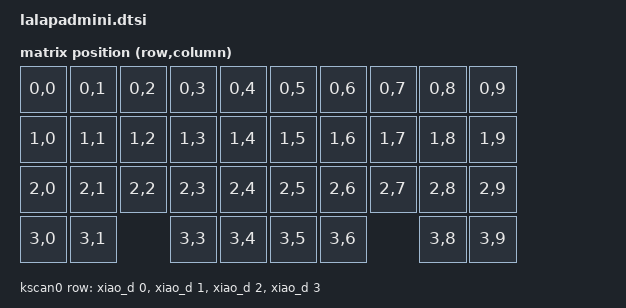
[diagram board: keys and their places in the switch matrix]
#include <dt-bindings/zmk/matrix_transform.h>
#include <dt-bindings/zmk/input_transform.h>
#include <input/processors.dtsi>
#include <physical_layouts.dtsi>

/ {
    chosen {
        zmk,kscan = &kscan0;
        zmk,physical-layout = &default_layout;
    };

    default_transform: keymap_transform_0 {
        compatible = "zmk,matrix-transform";
        columns = <10>;
        rows = <4>;
        map = <
            RC(0,0) RC(0,1) RC(0,2) RC(0,3) RC(0,4) RC(0,5) RC(0,6) RC(0,7) RC(0,8) RC(0,9)
            RC(1,0) RC(1,1) RC(1,2) RC(1,3) RC(1,4) RC(1,5) RC(1,6) RC(1,7) RC(1,8) RC(1,9)
            RC(2,0) RC(2,1) RC(2,2) RC(2,3) RC(2,4) RC(2,5) RC(2,6) RC(2,7) RC(2,8) RC(2,9)
            RC(3,0) RC(3,1)         RC(3,3) RC(3,4) RC(3,5) RC(3,6)         RC(3,8) RC(3,9)
        >;
    };

    kscan0: kscan {
        compatible = "zmk,kscan-gpio-matrix";
        wakeup-source;

        diode-direction = "col2row";
        row-gpios
            = <&xiao_d 0 (GPIO_ACTIVE_HIGH | GPIO_PULL_DOWN)> 
            , <&xiao_d 1 (GPIO_ACTIVE_HIGH | GPIO_PULL_DOWN)>
            , <&xiao_d 2 (GPIO_ACTIVE_HIGH | GPIO_PULL_DOWN)>
            , <&xiao_d 3 (GPIO_ACTIVE_HIGH | GPIO_PULL_DOWN)>
            ;
    };

    // Encoders
    left_encoder: left_encoder {
        compatible = "alps,ec11";
        status = "disabled";
    };
    right_encoder: right_encoder {
        compatible = "alps,ec11";
        status = "disabled";
    };
    sensors: sensors {
        compatible = "zmk,keymap-sensors";
        sensors = <&left_encoder &right_encoder>;
        triggers-per-rotation = <10>;
    };

    // Input Listners
    split_inputs_R {
        #address-cells = <1>;
        #size-cells = <0>;

        glidepoint_split_R: glidepoint_split_R@0 {
            compatible = "zmk,input-split";
            reg = <0>;
        };
    };
    split_inputs_L {
        #address-cells = <1>;
        #size-cells = <0>;

        glidepoint_split_L: glidepoint_split_L@1 {
            compatible = "zmk,input-split";
            reg = <1>;
        };
    };

    glidepoint_listener_R: glidepoint_listener_R {
        compatible = "zmk,input-listener";
        status = "disabled";
        device = <&glidepoint_split_R>;
    };
    glidepoint_listener_L: glidepoint_listener_L {
        compatible = "zmk,input-listener";
        status = "disabled";
        device = <&glidepoint_split_L>;
    };
};

// SPI
&qspi {
	status = "disabled";
};
&xiao_spi {
    status = "okay";
    cs-gpios = <&gpio1 10 (GPIO_ACTIVE_LOW )>, <&gpio0 13 (GPIO_PULL_UP)>;//dummy

    glidepoint: glidepoint@0 {
        compatible = "cirque,pinnacle";
        status = "okay";
        reg = <0>;
        spi-max-frequency = <1000000>;
        dr-gpios = <&xiao_d 7 (GPIO_ACTIVE_HIGH)>;

        sensitivity = "2x";
        no-taps;
        no-smoothing;
    };

    default_layout: default_layout {
        compatible = "zmk,physical-layout";
        display-name = "Default Layout";
        transform = <&default_transform>;

        keys  //                     w   h    x    y     rot    rx    ry
            = <&key_physical_attrs 100 100      0   0      0     0     0>
            , <&key_physical_attrs 100 100    100   0      0     0     0>
            , <&key_physical_attrs 100 100    200   0      0     0     0>
            , <&key_physical_attrs 100 100    300   0      0     0     0>
            , <&key_physical_attrs 100 100    400   0      0     0     0>
            , <&key_physical_attrs 100 100    700   0      0     0     0>
            , <&key_physical_attrs 100 100    900   0      0     0     0>
            , <&key_physical_attrs 100 100   1000   0      0     0     0>
            , <&key_physical_attrs 100 100   1100   0      0     0     0>
            , <&key_physical_attrs 100 100   1200   0      0     0     0>
            , <&key_physical_attrs 100 100      0 100      0     0     0>
            , <&key_physical_attrs 100 100    100 100      0     0     0>
            , <&key_physical_attrs 100 100    200 100      0     0     0>
            , <&key_physical_attrs 100 100    300 100      0     0     0>
            , <&key_physical_attrs 100 100    400 100      0     0     0>
            , <&key_physical_attrs 100 100    700 100      0     0     0>
            , <&key_physical_attrs 100 100    900 100      0     0     0>
            , <&key_physical_attrs 100 100   1000 100      0     0     0>
            , <&key_physical_attrs 100 100   1100 100      0     0     0>
            , <&key_physical_attrs 100 100   1200 100      0     0     0>
            , <&key_physical_attrs 100 100      0 200      0     0     0>
            , <&key_physical_attrs 100 100    100 200      0     0     0>
            , <&key_physical_attrs 100 100    200 200      0     0     0>  
            , <&key_physical_attrs 100 100    300 200      0     0     0>
            , <&key_physical_attrs 100 100    400 200      0     0     0>
            , <&key_physical_attrs 100 100    700 200      0     0     0>
            , <&key_physical_attrs 100 100    900 200      0     0     0>
            , <&key_physical_attrs 100 100   1000 200      0     0     0>
            , <&key_physical_attrs 100 100   1100 200      0     0     0>
            , <&key_physical_attrs 100 100   1200 200      0     0     0>
            , <&key_physical_attrs 100 100      0 300      0     0     0>
            , <&key_physical_attrs 100 100    100 300      0     0     0>
            , <&key_physical_attrs 100 100    300 300      0     0     0>
            , <&key_physical_attrs 100 100    400 300      0     0     0>
            , <&key_physical_attrs 100 100    500 300      0     0     0>
            , <&key_physical_attrs 100 100    600 300      0     0     0>
            , <&key_physical_attrs 100 100    900 300      0     0     0>
            , <&key_physical_attrs 100 100   1100 300      0     0     0>
            , <&key_physical_attrs 100 100   1200 300      0     0     0>
            ;
    };
};


